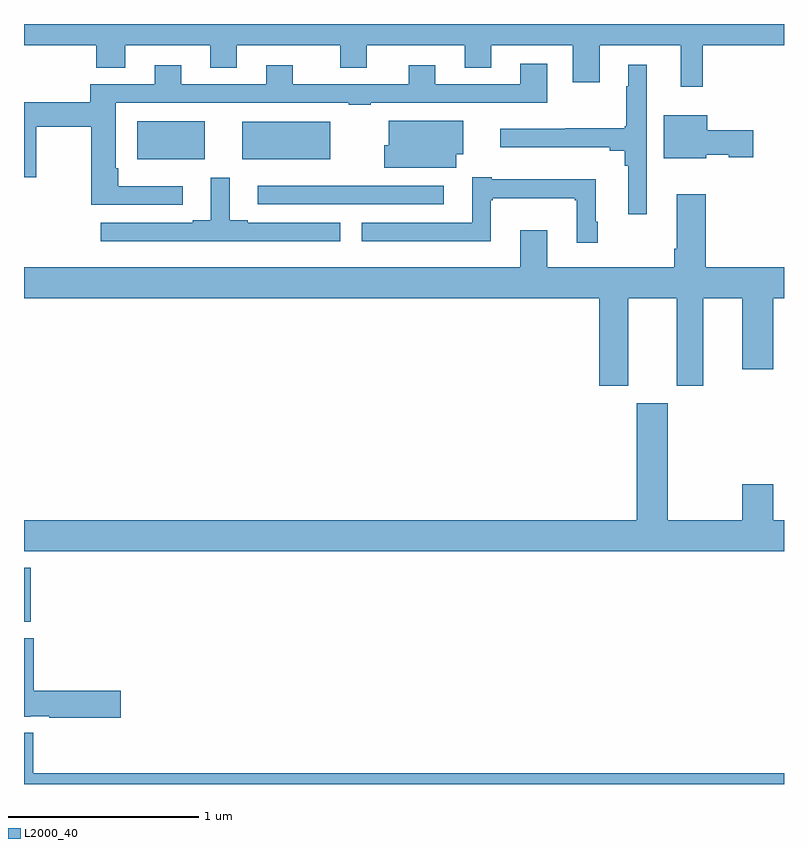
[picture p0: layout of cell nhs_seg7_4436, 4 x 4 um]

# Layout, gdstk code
import gdstk
lib = gdstk.Library(unit=1e-6, precision=1e-09)
def R(c, l, rs):  # rectangles x0, y0, x1, y1
    for r in rs: c.add(gdstk.rectangle(r[:2], r[2:], *l))
def P(c, l, *ps):  # polygons
    for p in ps: c.add(gdstk.Polygon(p, *l))
L2000_40 = (2000, 40)

nhs_seg7_4436 = lib.new_cell('nhs_seg7_4436')
R(nhs_seg7_4436, L2000_40, [(389,1058.853,389.036,1059.139), (389.597,1061.288,389.95,1061.488), (390.149,1061.288,390.613,1061.485)])
P(nhs_seg7_4436, L2000_40, [(392.573,1061.888),(393,1061.888),(393,1062),(389,1062),(389,1061.888),(389.381,1061.888),(389.381,1061.771),(389.533,1061.771),(389.533,1061.888),(389.981,1061.888),(389.981,1061.771),(390.121,1061.771),(390.121,1061.888),(390.665,1061.888),(390.665,1061.771),(390.805,1061.771),(390.805,1061.888),(391.319,1061.888),(391.319,1061.771),(391.459,1061.771),(391.459,1061.888),(391.889,1061.888),(391.889,1061.694),(392.029,1061.694),(392.029,1061.888),(392.456,1061.888),(392.456,1061.67),(392.573,1061.67)],
  [(389.836,1061.146),(389.495,1061.146),(389.495,1061.242),(389.482,1061.242),(389.482,1061.586),(390.709,1061.586),(390.709,1061.574),(390.824,1061.574),(390.824,1061.586),(391.408,1061.586),(391.408,1061.585),(391.753,1061.585),(391.753,1061.791),(391.613,1061.791),(391.613,1061.682),(391.165,1061.682),(391.165,1061.782),(391.025,1061.782),(391.025,1061.682),(390.415,1061.682),(390.415,1061.782),(390.275,1061.782),(390.275,1061.682),(389.827,1061.682),(389.827,1061.782),(389.687,1061.782),(389.687,1061.682),(389.348,1061.682),(389.348,1061.587),(389,1061.587),(389,1061.193),(389.064,1061.193),(389.064,1061.458),(389.353,1061.458),(389.353,1061.049),(389.836,1061.049)],
  [(392.278,1061.255),(392.277,1061.255),(392.277,1061.785),(392.18,1061.785),(392.18,1061.672),(392.169,1061.672),(392.169,1061.461),(392.161,1061.461),(392.161,1061.451),(391.849,1061.451),(391.849,1061.449),(391.506,1061.449),(391.506,1061.351),(392.084,1061.351),(392.084,1061.332),(392.161,1061.332),(392.161,1061.255),(392.18,1061.255),(392.18,1060.998),(392.278,1060.998)],
  [(392.592,1061.312),(392.709,1061.312),(392.709,1061.3),(392.839,1061.3),(392.839,1061.442),(392.596,1061.442),(392.596,1061.521),(392.366,1061.521),(392.366,1061.294),(392.592,1061.294)],
  [(391.276,1061.315),(391.312,1061.315),(391.312,1061.491),(390.92,1061.491),(390.92,1061.361),(390.896,1061.361),(390.896,1061.243),(391.276,1061.243)],
  [(392.02,1060.96),(392.008,1060.96),(392.008,1061.182),(391.462,1061.182),(391.462,1061.194),(391.358,1061.194),(391.358,1060.953),(390.777,1060.953),(390.777,1060.856),(391.456,1060.856),(391.456,1061.073),(391.468,1061.073),(391.468,1061.084),(391.899,1061.084),(391.899,1061.073),(391.91,1061.073),(391.91,1060.848),(392.02,1060.848)],
  [(390.664,1060.953),(390.178,1060.953),(390.178,1060.966),(390.082,1060.966),(390.082,1061.191),(389.984,1061.191),(389.984,1060.966),(389.888,1060.966),(389.888,1060.953),(389.403,1060.953),(389.403,1060.856),(390.664,1060.856)],
  [(391.21,1061.148),(390.8,1061.148),(390.8,1061.149),(390.231,1061.149),(390.231,1061.052),(391.21,1061.052)],
  [(392.179,1060.556),(392.435,1060.556),(392.435,1060.095),(392.575,1060.095),(392.575,1060.556),(392.78,1060.556),(392.78,1060.182),(392.944,1060.182),(392.944,1060.556),(393,1060.556),(393,1060.72),(392.588,1060.72),(392.588,1061.104),(392.435,1061.104),(392.435,1060.816),(392.423,1060.816),(392.423,1060.72),(391.753,1060.72),(391.753,1060.915),(391.613,1060.915),(391.613,1060.72),(389,1060.72),(389,1060.556),(392.027,1060.556),(392.027,1060.095),(392.179,1060.095)],
  [(393,1059.388),(392.944,1059.388),(392.944,1059.577),(392.78,1059.577),(392.78,1059.388),(392.389,1059.388),(392.389,1060.003),(392.225,1060.003),(392.225,1059.388),(389,1059.388),(389,1059.224),(393,1059.224)],
  [(389.509,1058.492),(389.051,1058.492),(389.051,1058.768),(389,1058.768),(389,1058.354),(389.034,1058.354),(389.034,1058.357),(389.134,1058.357),(389.134,1058.35),(389.509,1058.35)],
  [(393,1058.056),(389.048,1058.056),(389.048,1058.269),(389,1058.269),(389,1058),(393,1058)])

lib.write_gds('nhs_seg7_4436.gds')
